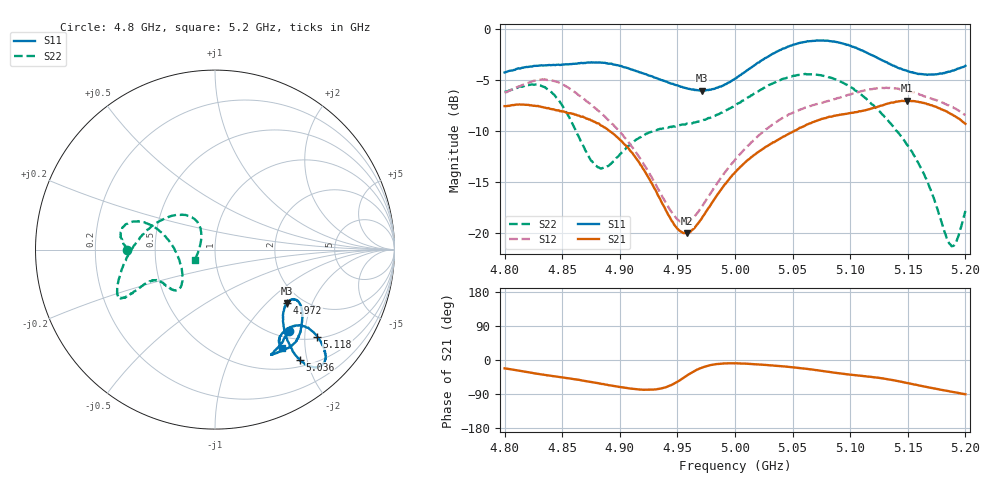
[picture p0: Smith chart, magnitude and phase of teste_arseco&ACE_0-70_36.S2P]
! Network Analyzer HP8722D
! Hewlett-Packard
! Data name: Linha & Wilkinson
! Saver's name: Rodrigo Anjos
! Comments: Teste da utilização de aquisição
! continua pelo VNA HP8722D
! Time and date: 8/5/2025 13:03
!  Frequency  S11  S21  S12  S22
# HZ  S  MA R 50
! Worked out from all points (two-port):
!   401 points, 4.8 GHz to 5.2 GHz, reference 50 ohm
!   highest |S21| = -7.04 dB at 5.149 GHz (marker M1); lowest = -20.0 dB at 4.958 GHz (marker M2)
!   |S21| within 3 dB of the highest: start of sweep to 4.891 GHz; 5.051 GHz to end of sweep
!   lowest |S11| = -6.0 dB at 4.971 GHz (marker M3), VSWR 2.99, Z = 83.7 - j66.3 ohm
!   |S11| at or under -10 dB: nowhere
!   |S22| runs from -21.3 to -4.4 dB; largest |S21 - S12| = 0.95
!   S11 on the Smith chart (normalised r, x): 4.8 GHz: 1.13, -1.64; 4.972 GHz: 1.67, -1.34; 5.036 GHz: 0.61, -1.87; 5.118 GHz: 1.05, -2.30; 5.2 GHz: 0.81, -1.57
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4.8e9  0.612 -47.8  0.4182 -22.1  0.4874 -175.9  0.4926 -179.8
4.836e9  0.6628 -61.7  0.4097 -39.8  0.5643 168.2  0.512 163.7
4.85e9  0.6683 -60.2  0.3935 -45.8  0.5372 159.0  0.4218 158.8
4.867e9  0.681 -54.9  0.3709 -53.8  0.4618 150.9  0.2764 166.7
4.885e9  0.6836 -48.8  0.3338 -63.2  0.3806 144.5  0.2076 -160.9
4.908e9  0.6388 -40.8  0.2578 -74.8  0.2765 137.9  0.2682 -133.7
4.934e9  0.5672 -32.9  0.1501 -76.3  0.1619 141.1  0.3218 -135.3
4.949e9  0.5296 -31.8  0.1065 -59.1  0.1183 159.1  0.3342 -141.6
4.958e9  0.5115 -33.0  0.09958 -41.7  0.1124 176.5  0.3434 -145.3
4.971e9  0.4984 -36.7  0.1174 -20.7  0.134 -162.2  0.3549 -150.6
4.972e9  0.5004 -36.7  0.1203 -19.3  0.1366 -161.2  0.3559 -150.6
5e9  0.5706 -47.9  0.1979 -8.9  0.2284 -146.8  0.4217 -154.0
5.036e9  0.7733 -52.4  0.2833 -15.3  0.3502 -147.4  0.5531 -152.2
5.067e9  0.8726 -48.3  0.348 -25.2  0.4222 -154.5  0.5981 -155.1
5.095e9  0.843 -43.4  0.3821 -37.0  0.4683 -162.4  0.539 -166.5
5.118e9  0.7471 -40.5  0.4066 -44.5  0.5067 -173.1  0.4319 173.3
5.134e9  0.6758 -40.1  0.4323 -51.5  0.5139 177.4  0.3488 153.2
5.149e9  0.6243 -42.6  0.4445 -60.3  0.4969 168.7  0.2719 134.7
5.166e9  0.5978 -48.4  0.4304 -71.0  0.4651 161.1  0.1841 122.3
5.187e9  0.6183 -55.0  0.384 -83.4  0.4181 153.6  0.08768 158.6
5.192e9  0.6325 -55.5  0.3698 -85.9  0.4044 151.9  0.09003 -178.5
5.2e9  0.6596 -55.8  0.3427 -90.5  0.3778 149.4  0.1282 -152.1
